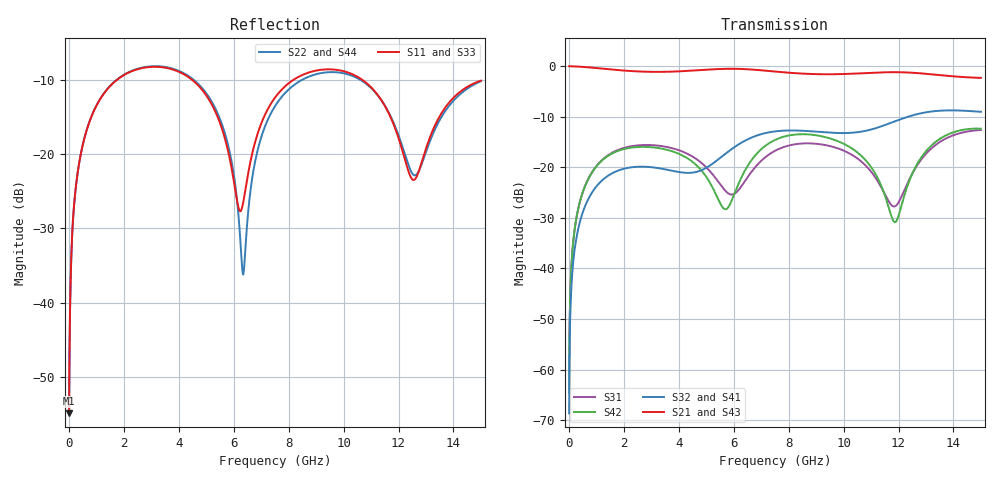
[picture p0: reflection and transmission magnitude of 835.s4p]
! Created with skrf 1.8.0 (http://scikit-rf.org).
# GHz S RI R 50.0
!freq ReS11 ImS11 ReS12 ImS12 ReS13 ImS13
! ReS14 ImS14
! ReS21 ImS21 ReS22 ImS22 ReS23 ImS23
! ReS24 ImS24
! ReS31 ImS31 ReS32 ImS32 ReS33 ImS33
! ReS34 ImS34
! ReS41 ImS41 ReS42 ImS42 ReS43 ImS43
! ReS44 ImS44
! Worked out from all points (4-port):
!   2499 points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, 5 MHz to 15 GHz, reference 50 ohm
!   strongest paths, dB at 5 MHz, 3.476 GHz, 7.19 GHz, 11.1 GHz, 15 GHz:
!     S21: 0.0, -1.1, -0.9, -1.3, -2.3
!     S43: 0.0, -1.1, -0.9, -1.3, -2.3
!     S32: -68.6, -20.4, -13.2, -12.4, -9.0
!     S41: -68.6, -20.4, -13.2, -12.4, -9.1
!     S42: -64.6, -16.4, -15.6, -20.7, -12.4
!     S31: -64.6, -15.9, -17.8, -21.6, -12.6
!   lowest |S11| = -54.9 dB at 5 MHz (marker M1), VSWR 1.00, Z = 50.1 + j0.109 ohm
!   |S11| at or under -10 dB: start of sweep to 1.731 GHz; 4.5 GHz to 8.154 GHz (3.655 GHz wide, 57.8 % of centre); 10.7 GHz to end of sweep
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0.005  0.00143 0.00108  0.9985 -0.00278  7.18e-05 0.000584  -6.96e-05 -0.000363
       0.9985 -0.00278  0.00143 0.00108  -6.96e-05 -0.000363  7.16e-05 0.000585
       7.18e-05 0.000584  -6.96e-05 -0.000363  0.00143 0.00108  0.9985 -0.00278
       -6.96e-05 -0.000363  7.16e-05 0.000585  0.9985 -0.00278  0.00143 0.00108
0.3126303  0.019 0.072  0.9741 -0.1738  0.00908 0.0351  -0.0073 -0.0218
           0.9741 -0.1738  0.0191 0.072  -0.0073 -0.0218  0.00849 0.0352
           0.00908 0.0351  -0.0073 -0.0218  0.019 0.072  0.9741 -0.1738
           -0.0073 -0.0218  0.00849 0.0352  0.9741 -0.1738  0.0191 0.072
1.569404  0.2297 0.1891  0.6285 -0.6785  0.121 0.0686  -0.085 -0.019
          0.6285 -0.6785  0.2323 0.1879  -0.085 -0.019  0.1121 0.0784
          0.121 0.0686  -0.085 -0.019  0.2297 0.1892  0.6285 -0.6785
          -0.085 -0.019  0.1121 0.0784  0.6285 -0.6785  0.2324 0.1879
6.283868  0.0418 0.00753  -0.9343 -0.067  -0.0445 0.0477  -0.00884 0.1748
          -0.9343 -0.067  0.015 -0.0127  -0.00818 0.1751  0.0525 0.06
          -0.0445 0.0477  -0.00818 0.1751  0.0403 0.00579  -0.9343 -0.0675
          -0.00884 0.1748  0.0525 0.06  -0.9343 -0.0675  0.0169 -0.0142
10.24177  0.3332 -0.1132  0.181 0.8197  0.1011 -0.0905  0.1948 -0.0968
          0.181 0.8197  0.3317 -0.0841  0.1947 -0.0999  0.1045 -0.1175
          0.1011 -0.0905  0.1947 -0.0999  0.3337 -0.1091  0.1821 0.8195
          0.1948 -0.0968  0.1045 -0.1175  0.1821 0.8195  0.3309 -0.0894
11.8737  0.1001 -0.1121  0.7461 0.4495  -0.041 -0.00368  0.1437 -0.246
         0.7461 0.4495  0.1117 -0.1074  0.14 -0.2481  -0.0286 -0.00185
         -0.041 -0.00368  0.14 -0.2481  0.105 -0.1115  0.7465 0.4482
         0.1437 -0.246  -0.0286 -0.00185  0.7465 0.4482  0.1083 -0.1119
15  0.3072 0.0648  0.4336 -0.63  0.2332 -0.012  -0.331 -0.1216
    0.4336 -0.63  0.3005 0.0813  -0.3331 -0.1175  0.2407 0.00246
    0.2332 -0.012  -0.3331 -0.1175  0.3019 0.0592  0.4324 -0.6332
    -0.331 -0.1216  0.2407 0.00246  0.4324 -0.6332  0.2959 0.0787
